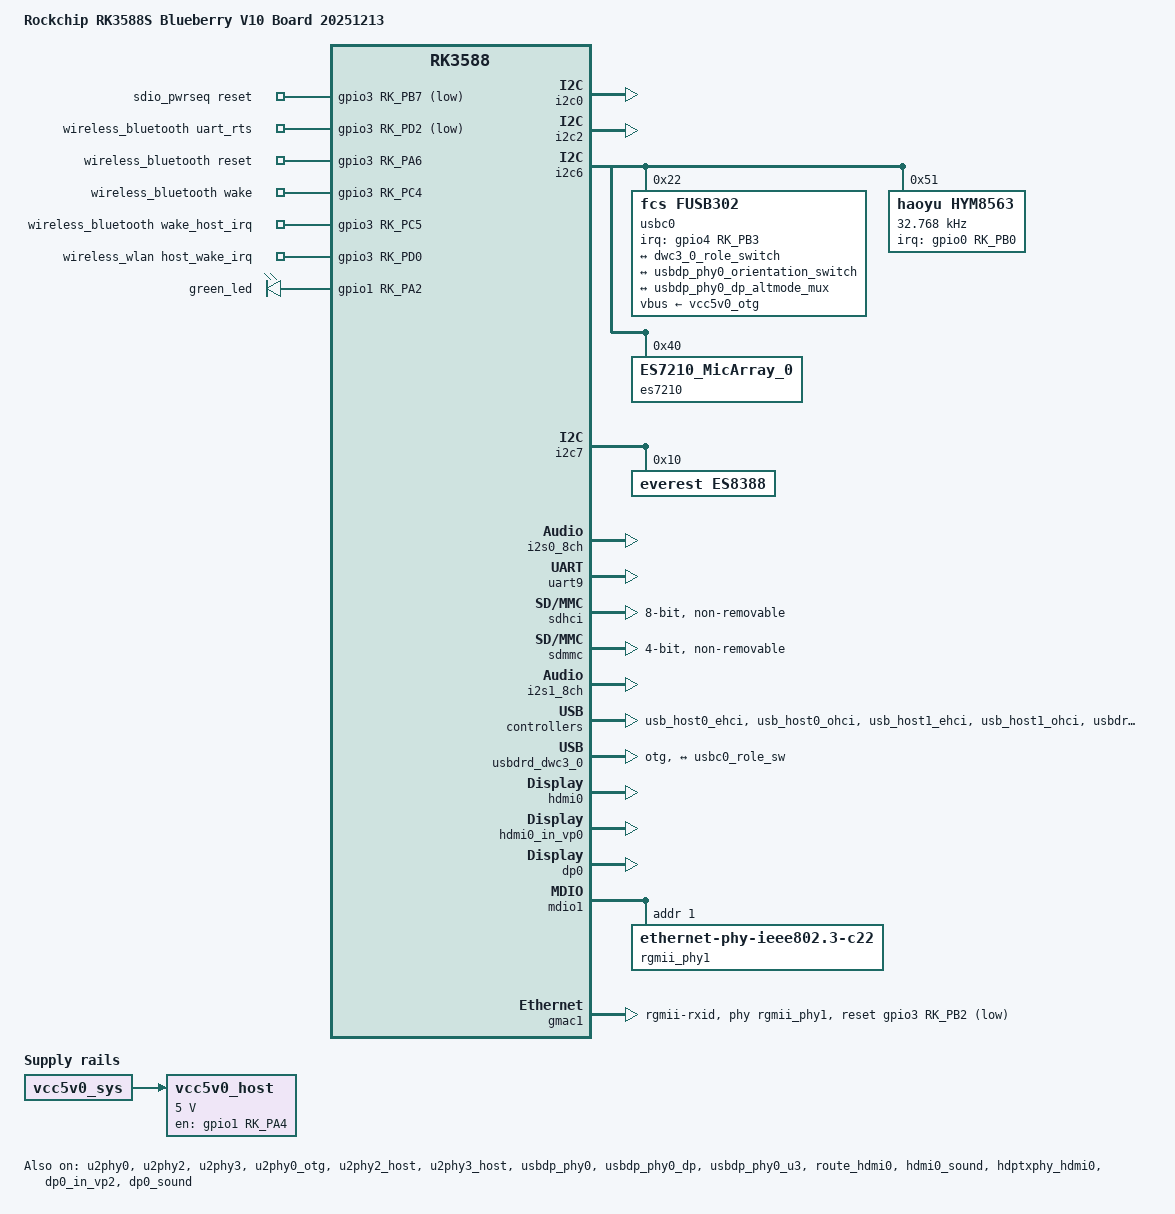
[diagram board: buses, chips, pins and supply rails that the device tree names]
// SPDX-License-Identifier: (GPL-2.0+ OR MIT)
/*
 * Copyright (c) 2021 Rockchip Electronics Co., Ltd.
 *
 */

#include "dt-bindings/usb/pd.h"
#include "rk3588s.dtsi"
#include "rk3588.dtsi"
#include "rk3588s-blueberry.dtsi"
#include "rk3588-rk806-single.dtsi"
//#include "rk3588_tablet_lcd_mipi_hdmi_r58.dtsi"  //r58屏幕
//#include "rk3588_tablet_lcd_mipi_hdmi.dtsi"  //畸变屏幕
//#include "rk3588_cam_imx415.dtsi"

/ {
	model = "Rockchip RK3588S Blueberry V10 Board 20251213";
	compatible = "rockchip,rk3588s-Blueberry-v10", "rockchip,rk3588";

	vcc5v0_host: vcc5v0-host {
		compatible = "regulator-fixed";
		regulator-name = "vcc5v0_host";
		regulator-boot-on;
		regulator-always-on;
		regulator-min-microvolt = <5000000>;
		regulator-max-microvolt = <5000000>;
		enable-active-high;
		gpio = <&gpio1 RK_PA4 GPIO_ACTIVE_HIGH>;
		vin-supply = <&vcc5v0_sys>;
		pinctrl-names = "default";
		pinctrl-0 = <&vcc5v0_host_en>;
	};

	sdio_pwrseq: sdio-pwrseq {
		compatible = "mmc-pwrseq-simple";
		clocks = <&hym8563>;
		clock-names = "ext_clock";
		pinctrl-names = "default";
		pinctrl-0 = <&wifi_enable_h>;

		//post-power-on-delay-ms = <200>;
		reset-gpios = <&gpio3 RK_PB7 GPIO_ACTIVE_LOW>;
	};


	wireless_bluetooth: wireless-bluetooth {
		compatible = "bluetooth-platdata";
		clocks = <&hym8563>;
		clock-names = "ext_clock";
		uart_rts_gpios = <&gpio3 RK_PD2 GPIO_ACTIVE_LOW>;
		pinctrl-names = "default" , "rts_gpio";
		pinctrl-0 = <&uart9m2_rtsn>; //, <&bt_gpio>;
		pinctrl-1 = <&uart9_gpios>;

		BT,reset_gpio    =  <&gpio3 RK_PA6 GPIO_ACTIVE_HIGH>; //<&gpio1 RK_PB4 GPIO_ACTIVE_HIGH>;//<&gpio3 RK_PA6 GPIO_ACTIVE_HIGH>;
		BT,wake_gpio     = <&gpio3 RK_PC4 GPIO_ACTIVE_HIGH>;
		BT,wake_host_irq = <&gpio3 RK_PC5 GPIO_ACTIVE_HIGH>;
		status = "okay";
	};

	wireless_wlan: wireless-wlan {
		compatible = "wlan-platdata";
		wifi_chip_type = "ap6256";
		pinctrl-names = "default";
		//pinctrl-0 = <&wifi_host_wake_irq>, <&wifi_poweren_gpio>;
		//WIFI,host_wake_irq = <&gpio1 RK_PA7 GPIO_ACTIVE_HIGH>;
		//WIFI,poweren_gpio = <&gpio3 RK_PB7 GPIO_ACTIVE_HIGH>;
		pinctrl-0 = <&wifi_host_wake_irq>;
		WIFI,host_wake_irq = <&gpio3 RK_PD0 GPIO_ACTIVE_HIGH>;

		status = "okay";
	};

	leds: leds {
		compatible = "gpio-leds";
		green_led: green-led {
			gpios = <&gpio1 RK_PA2 GPIO_ACTIVE_HIGH>;
			linux,default-trigger = "heartbeat";
			default-state = "on";
			status = "okay";
		};
	};



	es7210_sound: es7210-sound {
		status = "okay";
		compatible = "simple-audio-card";
		simple-audio-card,format = "i2s";
		simple-audio-card,mclk-fs = <256>;
		simple-audio-card,name = "rockchip,es7210";

		simple-audio-card,cpu {
			sound-dai = <&i2s1_8ch>;
		};
		simple-audio-card,codec {
			sound-dai = <&es7210>;
		};
	};


};

&i2c0 {
	status = "okay";
	pinctrl-names = "default";
	pinctrl-0 = <&i2c0m2_xfer>;

	
};

&i2c2 {
	status = "okay";
	pinctrl-names = "default";
	pinctrl-0 = <&i2c2m0_xfer>;	
};

&i2c6 {
	status = "okay";
	pinctrl-names = "default";
	pinctrl-0 = <&i2c6m0_xfer>;
	usbc0: fusb302@22 {
		compatible = "fcs,fusb302";
		reg = <0x22>;
		interrupt-parent = <&gpio4>;
		interrupts = <RK_PB3 IRQ_TYPE_LEVEL_LOW>;
		pinctrl-names = "default";
		pinctrl-0 = <&usbc0_int>;
		vbus-supply = <&vcc5v0_otg>;
		status = "okay";

		ports {
			#address-cells = <1>;
			#size-cells = <0>;

			port@0 {
				reg = <0>;
				usbc0_role_sw: endpoint@0 {
					remote-endpoint = <&dwc3_0_role_switch>;
				};
			};
		};

		usb_con: connector {
			compatible = "usb-c-connector";
			label = "USB-C";
			data-role = "dual";
			power-role = "dual";
			try-power-role = "sink";
			op-sink-microwatt = <1000000>;
			sink-pdos =
				<PDO_FIXED(5000, 1000, PDO_FIXED_USB_COMM)>;
			source-pdos =
				<PDO_FIXED(5000, 3000, PDO_FIXED_USB_COMM)>;

			altmodes {
				#address-cells = <1>;
				#size-cells = <0>;

				altmode@0 {
					reg = <0>;
					svid = <0xff01>;
					vdo = <0xffffffff>;
				};
			};

			ports {
				#address-cells = <1>;
				#size-cells = <0>;

				port@0 {
					reg = <0>;
					usbc0_orien_sw: endpoint {
						remote-endpoint = <&usbdp_phy0_orientation_switch>;
					};
				};

				port@1 {
					reg = <1>;
					dp_altmode_mux: endpoint {
						remote-endpoint = <&usbdp_phy0_dp_altmode_mux>;
					};
				};
			};
		};
	};
	hym8563: hym8563@51 {
		compatible = "haoyu,hym8563";
		reg = <0x51>;
		#clock-cells = <0>;
		clock-frequency = <32768>;
		clock-output-names = "hym8563";
		pinctrl-names = "default";
		pinctrl-0 = <&rtc_int>;

		interrupt-parent = <&gpio0>;
		interrupts = <RK_PB0 IRQ_TYPE_LEVEL_LOW>;
		//rtc_poweron-gpios = <&gpio3 RK_PB6 GPIO_ACTIVE_HIGH>;  
		//accin-gpios = <&gpio3 RK_PC7 GPIO_ACTIVE_HIGH>; 
		wakeup-source;
	};

	es7210: es7210@40 {
		status = "okay";
		#sound-dai-cells = <0>;
		compatible = "ES7210_MicArray_0";
		reg = <0x40>;
		clocks = <&mclkout_i2s1>;
		clock-names = "mclk";
		//assigned-clocks = <&mclkout_i2s1>;
		//assigned-clock-rates = <12288000>;
		pinctrl-names = "default";
		pinctrl-0 = <&i2s1m0_mclk>;
	};
	/*es7210_1: es7210@41 {
		compatible = "MicArray_1";
		reg = <0x41>;
	};	*/
};

&i2c7 {
	status = "okay";
	pinctrl-names = "default";
	pinctrl-0 = <&i2c7m0_xfer>;

	es8388: es8388@10 {
		status = "okay";
		#sound-dai-cells = <0>;
		compatible = "everest,es8388", "everest,es8323";
		reg = <0x10>;
		clocks = <&mclkout_i2s0>;
		clock-names = "mclk";
		assigned-clocks = <&mclkout_i2s0>;
		assigned-clock-rates = <12288000>;
		pinctrl-names = "default";
		pinctrl-0 = <&i2s0_mclk>;
	};
};
&i2s0_8ch {
 	pinctrl-names = "default";
	status = "okay";
	pinctrl-0 = <&i2s0_lrck
		     &i2s0_sclk
		     &i2s0_sdi0
		     &i2s0_sdo0>;
};


 &uart9 {
 	pinctrl-names = "default";
 	pinctrl-0 = <&uart9m2_xfer &uart9m2_ctsn>;
 	status = "okay";
 };

&sdhci {
	bus-width = <8>;
	no-sdio;
	no-sd;
	non-removable;
	max-frequency = <200000000>;
	mmc-hs400-1_8v;
	mmc-hs400-enhanced-strobe;
	status = "okay";
};

&sdmmc {
	max-frequency = <150000000>;
	supports-sdio;
	no-sd;
	no-mmc;
	bus-width = <4>;
	disable-wp;
	cap-sd-highspeed;
	cap-sdio-irq;
	keep-power-in-suspend;
	mmc-pwrseq = <&sdio_pwrseq>;
	non-removable;
	pinctrl-names = "default";
	pinctrl-0 = <&sdmmc_clk &sdmmc_cmd &sdmmc_bus4>;
	sd-uhs-sdr104;
	status = "okay";
};

&pinctrl {
	hym8563 {
		rtc_int: rtc-int {
			rockchip,pins = <0 RK_PB0 RK_FUNC_GPIO &pcfg_pull_up>;
		};
	};

	vga {
		vga_hpdin_l: vga-hpdin-l {
			rockchip,pins = <0 RK_PC7 RK_FUNC_GPIO &pcfg_pull_none>;
		};
	};

	sdio-pwrseq {
		wifi_enable_h: wifi-enable-h {
			rockchip,pins = <3 RK_PB7 RK_FUNC_GPIO &pcfg_pull_up>;
		};
	};

	usb {
		vcc5v0_host_en: vcc5v0-host-en {
			rockchip,pins = <1 RK_PA4 RK_FUNC_GPIO &pcfg_pull_none>;
		};
	};
	wireless-wlan {
		wifi_host_wake_irq: wifi-host-wake-irq {
			rockchip,pins = <3 RK_PD0 RK_FUNC_GPIO &pcfg_pull_none>;
		};
	/*	wifi_enable_h: wifi-enable-h {
			rockchip,pins = <3 RK_PB7 RK_FUNC_GPIO &pcfg_pull_up>;
		};*/
	};


	wireless-bluetooth {
		uart9_gpios: uart9-gpios {
			rockchip,pins = <3 RK_PD2 RK_FUNC_GPIO &pcfg_pull_none>;
		};
			bt_gpio: bt-gpio {
			rockchip,pins =
				<3 RK_PA6 RK_FUNC_GPIO &pcfg_pull_none>,
				<3 RK_PC5 RK_FUNC_GPIO &pcfg_pull_up>,
				<3 RK_PC4 RK_FUNC_GPIO &pcfg_pull_down>;
		};
	};

	wireless-gps {
		gps_enable: gps-enable {
			rockchip,pins = <3 RK_PC3 RK_FUNC_GPIO &pcfg_pull_up>;
		};
	};

	tp2912 {
		tp7912_int: tp7912-int {
			rockchip,pins = <1 RK_PA4 RK_FUNC_GPIO &pcfg_pull_up>;
		};
	};
	headphone {
		hp_det: hp-det {
			rockchip,pins = <1 RK_PD5 RK_FUNC_GPIO &pcfg_pull_none>;
		};
	};
	sdmmc {
		sd_s0_pwr: sd-s0-pwr {
			rockchip,pins = <4 RK_PB5 RK_FUNC_GPIO &pcfg_pull_none>;
		};
	};
	usb-typec {
		usbc0_int: usbc0-int {
			rockchip,pins = <4 RK_PB3 RK_FUNC_GPIO &pcfg_pull_up>;
		};

		vcc5v0_otg_en: vcc5v0-otg-en {
			rockchip,pins = <3 RK_PC0 RK_FUNC_GPIO &pcfg_pull_none>;
		};
	};



};
&i2s1_8ch {
	
	//&i2s1m0_sdi2
	//&i2s1m0_sdi3
	status = "okay";
	#sound-dai-cells = <0>;
	//rockchip,trcm-sync-rx-only;
	pinctrl-names = "default";
	pinctrl-0 = <&i2s1m0_lrck
		     &i2s1m0_sclk
		     &i2s1m0_sdi0
		     &i2s1m0_sdi1		    
			 &i2s1m0_sdi2
		     &i2s1m0_sdi3>;
};


&u2phy0 {
	status = "okay";
};

//usb2.0 host0
&u2phy2 {
	status = "okay";
};

//usb2.0 host1
&u2phy3 {
	status = "okay";
};

&u2phy0_otg {
	//rockchip,typec-vbus-det;
	//phy-supply = <&vcc5v0_host>;
	status = "okay";
};

&u2phy2_host {
	phy-supply = <&vcc5v0_host>;
	status = "okay";
};

&u2phy3_host {
	phy-supply = <&vcc5v0_host>;
	status = "okay";
};

&usb_host0_ehci {
	status = "okay";
};

&usb_host0_ohci {
	status = "okay";
};

&usb_host1_ehci {
	status = "okay";
};

&usb_host1_ohci {
	status = "okay";
};

&usbdp_phy0 {
	orientation-switch;
	svid = <0xff01>;
	sbu1-dc-gpios = <&gpio4 RK_PB1 GPIO_ACTIVE_HIGH>;
	sbu2-dc-gpios = <&gpio4 RK_PB4 GPIO_ACTIVE_HIGH>;
	status = "okay";

	port {
		#address-cells = <1>;
		#size-cells = <0>;
		usbdp_phy0_orientation_switch: endpoint@0 {
			reg = <0>;
			remote-endpoint = <&usbc0_orien_sw>;
		};

		usbdp_phy0_dp_altmode_mux: endpoint@1 {
			reg = <1>;
			remote-endpoint = <&dp_altmode_mux>;
		};
	};

};

&usbdp_phy0_dp {
	status = "okay";
};

&usbdp_phy0_u3 {
	status = "okay";
};

&usbdrd3_0 {
	status = "okay";
};

&usbdrd_dwc3_0 {
	dr_mode = "otg";
	usb-role-switch;
	status = "okay";
	port {
		#address-cells = <1>;
		#size-cells = <0>;
		dwc3_0_role_switch: endpoint@0 {
			reg = <0>;
			remote-endpoint = <&usbc0_role_sw>;
		};
	};
};

&hdmi0 {
	enable-gpios = <&gpio4 RK_PB6 GPIO_ACTIVE_HIGH>;
	status = "okay";
};
&route_hdmi0 {
	status = "okay";
	connect = <&vp0_out_hdmi0>;
};
&hdmi0_in_vp0 {
	status = "okay";
};

&hdmi0_sound {
	status = "okay";
};

&hdptxphy_hdmi0 {
	status = "okay";
};

&dp0 {
	status = "okay";
};

&dp0_in_vp2 {
	status = "okay";
};

&dp0_sound{
	status = "okay";
};

&mdio1 {
	rgmii_phy1: phy@1 {
		compatible = "ethernet-phy-ieee802.3-c22";
		reg = <0x1>;
	};
};
&gmac1 {
	/* Use rgmii-rxid mode to disable rx delay inside Soc */
	phy-mode = "rgmii-rxid";
	clock_in_out = "output";

	snps,reset-gpio = <&gpio3 RK_PB2 GPIO_ACTIVE_LOW>;
	snps,reset-active-low;
	/* Reset time is 20ms, 100ms for rtl8211f */
	snps,reset-delays-us = <0 20000 100000>;

	pinctrl-names = "default";
	pinctrl-0 = <&gmac1_miim
		     &gmac1_tx_bus2
		     &gmac1_rx_bus2
		     &gmac1_rgmii_clk
		     &gmac1_rgmii_bus>;

	tx_delay = <0x42>;
	/* rx_delay = <0x4f>; */

	phy-handle = <&rgmii_phy1>;
	status = "okay";
};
